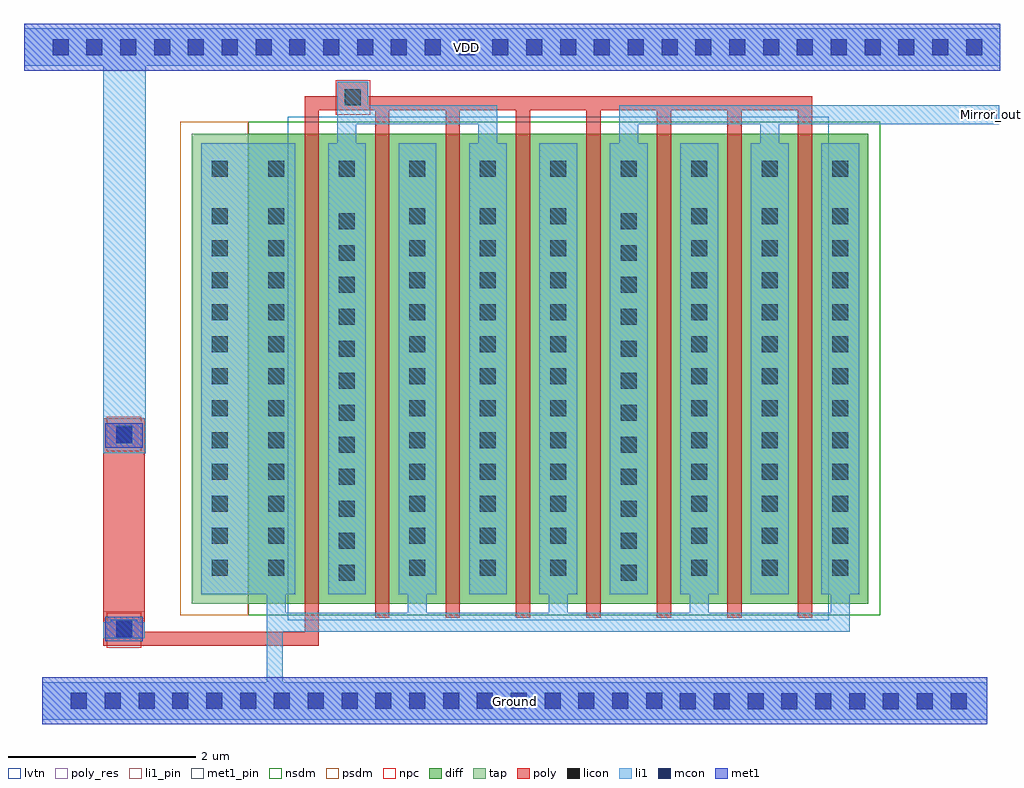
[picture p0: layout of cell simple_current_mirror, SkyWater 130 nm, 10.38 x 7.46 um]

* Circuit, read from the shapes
.subckt simple_current_mirror Ground Mirror_out VDD
XM1 n1 n1 Ground Ground sky130_fd_pr__nfet_01v8_lvt w=5 l=0.15 m=4
XM2 Mirror_out n1 Ground Ground sky130_fd_pr__nfet_01v8_lvt w=5 l=0.15 m=4
R3 VDD n1 sky130_fd_pr__res_generic_po w=0.44 l=1.69
.ends

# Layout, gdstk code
import gdstk
lib = gdstk.Library(unit=1e-6, precision=1e-09)
def R(c, l, rs):  # rectangles x0, y0, x1, y1
    for r in rs: c.add(gdstk.rectangle(r[:2], r[2:], *l))
def A(c, l, x, y, w, h, nx, ny, dx, dy):  # array of equal rectangles
    R(c, l, [(x+i*dx, y+j*dy, x+i*dx+w, y+j*dy+h) for i in range(nx) for j in range(ny)])
diff = (65, 20)
tap = (65, 44)
poly_res = (66, 13)
poly = (66, 20)
licon = (66, 44)
li1_pin = (67, 16)
li1 = (67, 20)
mcon = (67, 44)
met1_pin = (68, 16)
met1 = (68, 20)
nsdm = (93, 44)
psdm = (94, 20)
npc = (95, 20)
lvtn = (125, 44)

sky130_fd_pr__res_generi = lib.new_cell('sky130_fd_pr__res_generic_po_RWRVR8')
R(sky130_fd_pr__res_generi, poly_res, [(-0.22,-0.845,0.22,0.845)])
R(sky130_fd_pr__res_generi, poly, [(-0.22,-1.21,0.22,1.21)])
R(sky130_fd_pr__res_generi, licon, [(-0.085,-1.13,0.085,-0.96), (-0.085,0.96,0.085,1.13)])
R(sky130_fd_pr__res_generi, li1, [(-0.22,-1.13,0.22,-0.96), (-0.14,-0.96,0.14,-0.93), (-0.14,0.93,0.14,0.96), (-0.22,0.96,0.22,1.13)])
R(sky130_fd_pr__res_generi, mcon, [(-0.085,-1.115,0.085,-0.945), (-0.085,0.945,0.085,1.115)])
R(sky130_fd_pr__res_generi, met1, [(-0.2,-1.16,0.2,-0.9), (-0.2,0.9,0.2,1.16)])
R(sky130_fd_pr__res_generi, npc, [(-0.185,-1.23,0.185,-0.86), (-0.185,0.86,0.185,1.23)])

nmos_1v8_lvt_5p0_body_4f = lib.new_cell('nmos_1v8_lvt_5p0_body_4finger')
R(nmos_1v8_lvt_5p0_body_4f, diff, [(-5.55,0.1,-1.95,5.1)])
R(nmos_1v8_lvt_5p0_body_4f, tap, [(-6.15,0.1,-5.55,5.1)])
A(nmos_1v8_lvt_5p0_body_4f, poly, -4.95, -0.05, 0.15, 5.4, 4, 1, 0.75, 0)
R(nmos_1v8_lvt_5p0_body_4f, poly, [(-4.95,5.35,-2.55,5.5)])
A(nmos_1v8_lvt_5p0_body_4f, licon, -4.585, 0.345, 0.17, 0.17, 1, 12, 0, 0.34)
A(nmos_1v8_lvt_5p0_body_4f, licon, -5.935, 0.395, 0.17, 0.17, 1, 12, 0, 0.34)
A(nmos_1v8_lvt_5p0_body_4f, licon, -5.335, 0.395, 0.17, 0.17, 1, 12, 0, 0.34)
A(nmos_1v8_lvt_5p0_body_4f, licon, -3.835, 0.395, 0.17, 0.17, 3, 12, 0.75, 0.34)
A(nmos_1v8_lvt_5p0_body_4f, licon, -5.335, 4.64, 0.17, 0.17, 5, 1, 0.75, 0)
R(nmos_1v8_lvt_5p0_body_4f, licon, [(-5.935,4.64,-5.765,4.81)])
A(nmos_1v8_lvt_5p0_body_4f, li1, -5.35, 0, 0.2, 0.2, 3, 1, 1.5, 0)
A(nmos_1v8_lvt_5p0_body_4f, li1, -4.7, 0.2, 0.4, 4.8, 4, 1, 0.75, 0)
R(nmos_1v8_lvt_5p0_body_4f, li1, [(-5.35,-0.2,-2.15,0), (-6.05,0.2,-5.05,5), (-4.6,5,-4.4,5.2), (-3.1,5,-2.9,5.2), (-4.6,5.2,-2.9,5.4)])
R(nmos_1v8_lvt_5p0_body_4f, nsdm, [(-5.55,-0.025,-1.825,5.225)])
R(nmos_1v8_lvt_5p0_body_4f, psdm, [(-6.275,-0.025,-5.55,5.225)])
R(nmos_1v8_lvt_5p0_body_4f, lvtn, [(-5.13,-0.08,-2.37,5.28)])

nmos_1v8_lvt_5p0_4finger = lib.new_cell('nmos_1v8_lvt_5p0_4finger')
R(nmos_1v8_lvt_5p0_4finger, diff, [(-5.55,0.1,-1.95,5.1)])
A(nmos_1v8_lvt_5p0_4finger, poly, -4.95, -0.05, 0.15, 5.4, 4, 1, 0.75, 0)
R(nmos_1v8_lvt_5p0_4finger, poly, [(-4.95,5.35,-2.55,5.5)])
A(nmos_1v8_lvt_5p0_4finger, licon, -4.585, 0.345, 0.17, 0.17, 1, 12, 0, 0.34)
A(nmos_1v8_lvt_5p0_4finger, licon, -5.335, 0.395, 0.17, 0.17, 1, 12, 0, 0.34)
A(nmos_1v8_lvt_5p0_4finger, licon, -3.835, 0.395, 0.17, 0.17, 3, 12, 0.75, 0.34)
A(nmos_1v8_lvt_5p0_4finger, licon, -5.335, 4.64, 0.17, 0.17, 5, 1, 0.75, 0)
A(nmos_1v8_lvt_5p0_4finger, li1, -5.35, 0, 0.2, 0.2, 3, 1, 1.5, 0)
A(nmos_1v8_lvt_5p0_4finger, li1, -5.45, 0.2, 0.4, 4.8, 5, 1, 0.75, 0)
R(nmos_1v8_lvt_5p0_4finger, li1, [(-5.35,-0.2,-2.15,0), (-4.6,5,-4.4,5.2), (-3.1,5,-2.9,5.2), (-4.6,5.2,-2.9,5.4)])
R(nmos_1v8_lvt_5p0_4finger, nsdm, [(-5.675,-0.025,-1.825,5.225)])
R(nmos_1v8_lvt_5p0_4finger, lvtn, [(-5.13,-0.08,-2.37,5.28)])

simple_current_mirror = lib.new_cell('simple_current_mirror')
R(simple_current_mirror, poly, [(-0.25,-0.15,1.64,0), (1.49,0,1.64,0.15), (1.84,5.55,2.17,5.85), (1.87,5.55,2.14,5.82), (3.89,5.55,4.49,5.7)])
R(simple_current_mirror, licon, [(1.92,5.6,2.09,5.77)])
R(simple_current_mirror, li1_pin, [(8.745,5.45,8.855,5.55)])
R(simple_current_mirror, li1, [(-1.3,-0.935,8.755,-0.535), (1.09,-0.535,1.26,0), (-0.65,1.9,-0.2,6.02), (6.54,5.4,8.88,5.6), (1.84,5.52,2.17,5.85), (-1.495,6.02,8.89,6.42)])
A(simple_current_mirror, mcon, 5.485, -0.825, 0.17, 0.17, 9, 1, 0.36, 0)
A(simple_current_mirror, mcon, -0.995, -0.82, 0.17, 0.17, 18, 1, 0.36, 0)
A(simple_current_mirror, mcon, -1.19, 6.135, 0.17, 0.17, 28, 1, 0.36, 0)
R(simple_current_mirror, met1_pin, [(3.32,-0.82,3.495,-0.65), (3.13,6.135,3.3,6.305)])
R(simple_current_mirror, met1, [(-1.3,-0.985,8.755,-0.485), (-1.495,5.97,8.89,6.47)])
R(simple_current_mirror, npc, [(1.82,5.5,2.19,5.87)])
R(simple_current_mirror, lvtn, [(4.07,0.12,4.31,5.48)])
simple_current_mirror.add(gdstk.Reference(sky130_fd_pr__res_generi, (-0.43,1.06)))
simple_current_mirror.add(gdstk.Reference(nmos_1v8_lvt_5p0_body_4f, (6.44,0.2)))
simple_current_mirror.add(gdstk.Reference(nmos_1v8_lvt_5p0_4finger, (9.44,0.2)))
simple_current_mirror.add(gdstk.Label('Ground', (3.73,-0.74), layer=67, texttype=5))
simple_current_mirror.add(gdstk.Label('Ground', (3.407,-0.735), layer=68, texttype=16))
simple_current_mirror.add(gdstk.Label('VDD', (3.215,6.22), layer=68, texttype=16))
simple_current_mirror.add(gdstk.Label('Mirror_out', (8.8,5.5), layer=67, texttype=16))

lib.write_gds('simple_current_mirror.gds')
